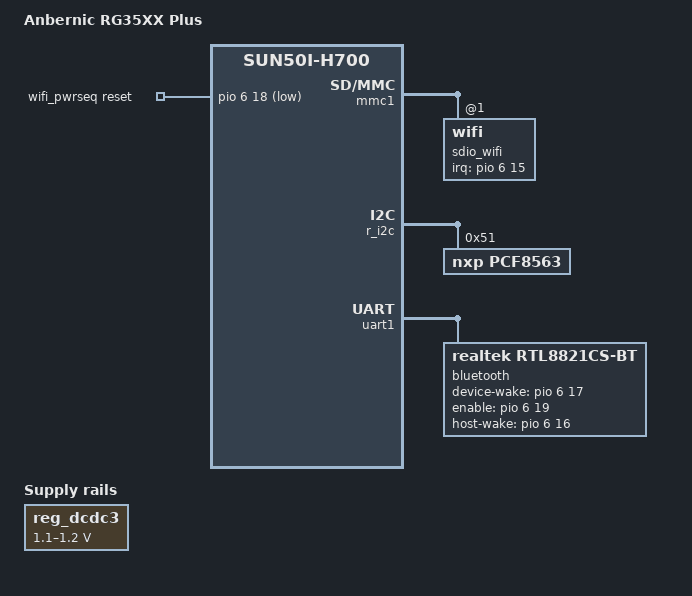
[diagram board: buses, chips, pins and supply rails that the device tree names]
// SPDX-License-Identifier: (GPL-2.0-only OR BSD-2-Clause)
/*
 * Copyright (C) 2024 Ryan Walklin <ryan@testtoast.com>.
 */

#include "sun50i-h700-anbernic-rg35xx-2024.dts"

/ {
	model = "Anbernic RG35XX Plus";
	compatible = "anbernic,rg35xx-plus", "allwinner,sun50i-h700";
	rocknix-dt-id = "sun50i-h700-anbernic-rg35xx-plus";

	aliases {
		rtc0 = &pcf8563;
		rtc1 = &rtc;
	};

	wifi_pwrseq: pwrseq {
		compatible = "mmc-pwrseq-simple";
		clocks = <&rtc CLK_OSC32K_FANOUT>;
		clock-names = "ext_clock";
		pinctrl-0 = <&x32clk_fanout_pin>;
		pinctrl-names = "default";
		post-power-on-delay-ms = <200>;
		reset-gpios = <&pio 6 18 GPIO_ACTIVE_LOW>; /* PG18 */
	};
};

/* SPL selects LPDDR3 (1.2 V) or LPDDR4 (1.1 V) from the DRAM straps. */
&reg_dcdc3 {
	regulator-min-microvolt = <1100000>;
	regulator-max-microvolt = <1200000>;
};

/* SDIO WiFi RTL8821CS */
&mmc1 {
	mmc-pwrseq = <&wifi_pwrseq>;

	sdio_wifi: wifi@1 {
		reg = <1>;
		interrupt-parent = <&pio>;
		interrupts = <6 15 IRQ_TYPE_LEVEL_LOW>; /* PG15 */
		interrupt-names = "host-wake";
	};
};

&r_i2c {
	pcf8563: rtc@51 {
		compatible = "nxp,pcf8563";
		reg = <0x51>;
		#clock-cells = <0>;
	};
};

/* Bluetooth RTL8821CS */
&uart1 {
	pinctrl-names = "default";
	pinctrl-0 = <&uart1_pins>, <&uart1_rts_cts_pins>;
	uart-has-rtscts;
	status = "okay";

	bluetooth {
		compatible = "realtek,rtl8821cs-bt", "realtek,rtl8723bs-bt";
		device-wake-gpios = <&pio 6 17 GPIO_ACTIVE_HIGH>; /* PG17 */
		enable-gpios = <&pio 6 19 GPIO_ACTIVE_HIGH>; /* PG19 */
		host-wake-gpios = <&pio 6 16 GPIO_ACTIVE_HIGH>; /* PG16 */
	};
};
